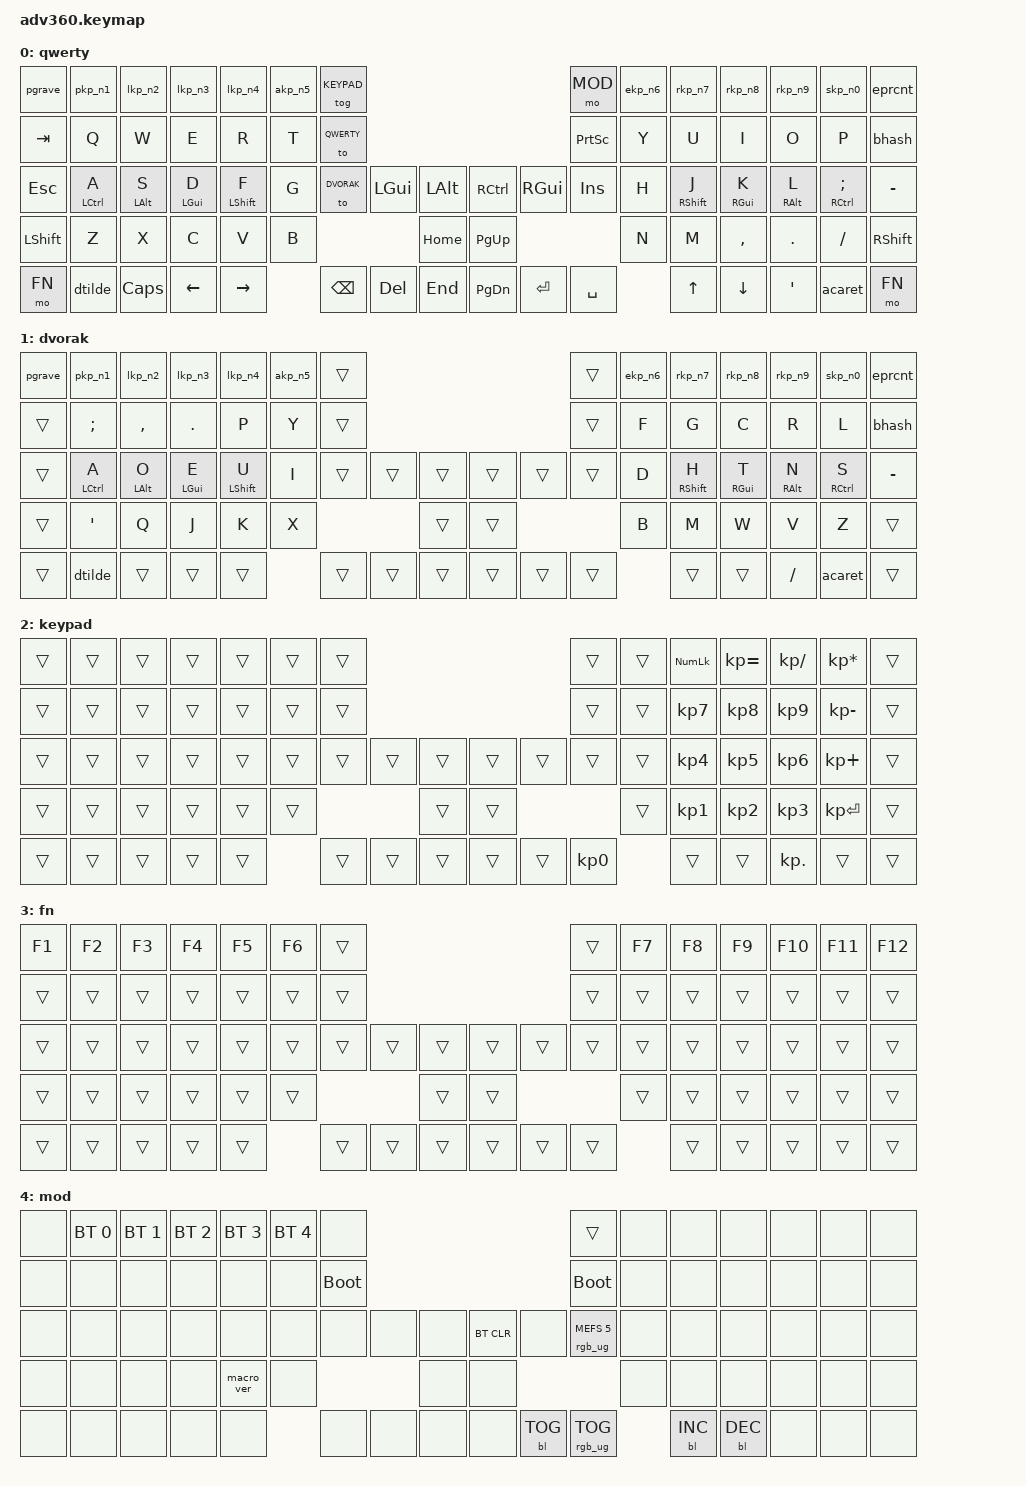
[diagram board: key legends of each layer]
#include <behaviors.dtsi>
#include <dt-bindings/zmk/keys.h>
#include <dt-bindings/zmk/bt.h>
#include <dt-bindings/zmk/rgb.h>
#include <dt-bindings/zmk/backlight.h>

// Helpers for readability
#define ______ &trans
#define xxxxxx &none

// Define Layout Names
#define QWERTY 0
#define DVORAK 1
#define KEYPAD 2
#define FN 3
#define MOD 4

// Define Key Positions
#define KEYS_LEFT 0 1 2 3 4 5 6 \
                  14 15 16 17 18 19 20 \
                  28 29 30 31 32 33 34 \
                  46 47 48 49 50 51 \
                  66 67 68 69 70
#define KEYS_RIGHT 7 8 9 10 11 12 13 \
                   21 22 23 24 25 26 27 \
                   39 40 41 42 43 44 45 \
                   60 61 62 63 64 65 \
                   77 78 79 80 81
#define THUMBS_LEFT 35 36 54 71 72 73
#define THUMBS_RIGHT 37 38 57 74 75 76
#define THUMBS THUMBS_LEFT THUMBS_RIGHT

/ {
    behaviors {
      #include "macros.dtsi"
      #include "version.dtsi"
      #ifndef VERSION_MACRO
      macro_ver: macro_ver {
        compatible = "zmk,behavior-macro";
        label = "macro_version";
        #binding-cells = <0>;
        bindings = <&kp RET>;
      };
      #endif

      hm: homerow_mods {
        compatible = "zmk,behavior-hold-tap";
        label = "HOMEROW_MODS";
        #binding-cells = <2>;
        tapping-term-ms = <200>;
        quick_tap_ms = <175>;
        flavor = "balanced";
        bindings = <&kp>, <&kp>;
      };
      hm_l: homerow_mods_left {
        compatible = "zmk,behavior-hold-tap";
        label = "HOMEROW_MODS_LEFT";
        #binding-cells = <2>;
        tapping-term-ms = <200>;
        quick_tap_ms = <175>;
        flavor = "balanced";
        bindings = <&kp>, <&kp>;
        hold-trigger-key-positions = <KEYS_RIGHT THUMBS>;
      };
      hm_r: homerow_mods_right {
        compatible = "zmk,behavior-hold-tap";
        label = "HOMEROW_MODS_RIGHT";
        #binding-cells = <2>;
        tapping-term-ms = <200>;
        quick_tap_ms = <175>;
        flavor = "balanced";
        bindings = <&kp>, <&kp>;
        hold-trigger-key-positions = <KEYS_LEFT THUMBS>;
      };
      pkp_n1: plus_kp_n1 {
        compatible = "zmk,behavior-mod-morph";
        label = "plus_kp_n1";
        #binding-cells = <0>;
        bindings = <&kp PLUS>, <&kp KP_N1>;
        mods = <(LGUI|LSHIFT|RGUI|RSHIFT)>;
      };
      lkp_n2: left_bracket_kp_n2 {
        compatible = "zmk,behavior-mod-morph";
        label = "left_bracket_kp_n2";
        #binding-cells = <0>;
        bindings = <&kp LEFT_BRACKET>, <&kp KP_N2>;
        mods = <(LGUI|LSHIFT|RGUI|RSHIFT)>;
      };
      lkp_n3: left_brace_kp_n3 {
        compatible = "zmk,behavior-mod-morph";
        label = "left_brace_kp_n3";
        #binding-cells = <0>;
        bindings = <&kp LEFT_BRACE>, <&kp KP_N3>;
        mods = <(LGUI|LSHIFT|RGUI|RSHIFT)>;
      };
      lkp_n4: left_parenthesis_kp_n4 {
        compatible = "zmk,behavior-mod-morph";
        label = "left_parenthesis_kp_n4";
        #binding-cells = <0>;
        bindings = <&kp LEFT_PARENTHESIS>, <&kp KP_N4>;
        mods = <(LGUI|LSHIFT|RGUI|RSHIFT)>;
      };
      akp_n5: amps_kp_n5 {
        compatible = "zmk,behavior-mod-morph";
        label = "amps_kp_n5";
        #binding-cells = <0>;
        bindings = <&kp AMPS>, <&kp KP_N5>;
        mods = <(LGUI|LSHIFT|RGUI|RSHIFT)>;
      };
      ekp_n6: equal_kp_n6 {
        compatible = "zmk,behavior-mod-morph";
        label = "equal_kp_n6";
        #binding-cells = <0>;
        bindings = <&kp EQUAL>, <&kp KP_N6>;
        mods = <(LGUI|LSHIFT|RGUI|RSHIFT)>;
      };
      rkp_n7: right_parenthesis_kp_n7 {
        compatible = "zmk,behavior-mod-morph";
        label = "right_parenthesis_kp_n7";
        #binding-cells = <0>;
        bindings = <&kp RIGHT_PARENTHESIS>, <&kp KP_N7>;
        mods = <(LGUI|LSHIFT|RGUI|RSHIFT)>;
      };
      rkp_n8: right_brace_kp_n8 {
        compatible = "zmk,behavior-mod-morph";
        label = "right_brace_kp_n8";
        #binding-cells = <0>;
        bindings = <&kp RIGHT_BRACE>, <&kp KP_N8>;
        mods = <(LGUI|LSHIFT|RGUI|RSHIFT)>;
      };
      rkp_n9: right_bracket_kp_n9 {
        compatible = "zmk,behavior-mod-morph";
        label = "right_bracket_kp_n9";
        #binding-cells = <0>;
        bindings = <&kp RIGHT_BRACKET>, <&kp KP_N9>;
        mods = <(LGUI|LSHIFT|RGUI|RSHIFT)>;
      };
      skp_n0: star_kp_n0 {
        compatible = "zmk,behavior-mod-morph";
        label = "star_kp_n0";
        #binding-cells = <0>;
        bindings = <&kp STAR>, <&kp KP_N0>;
        mods = <(LGUI|LSHIFT|RGUI|RSHIFT)>;
      };
      eprcnt: excl_prcnt {
        compatible = "zmk,behavior-mod-morph";
        label = "excl_prcnt";
        #binding-cells = <0>;
        bindings = <&kp EXCL>, <&kp PRCNT>;
        mods = <(LGUI|LSHIFT|RGUI|RSHIFT)>;
      };
      dtilde: dllr_tilde {
        compatible = "zmk,behavior-mod-morph";
        label = "dllr_tilde";
        #binding-cells = <0>;
        bindings = <&kp DLLR>, <&kp TILDE>;
        mods = <(LGUI|LSHIFT|RGUI|RSHIFT)>;
      };
      pgrave: pipe_grave {
        compatible = "zmk,behavior-mod-morph";
        label = "pipe_grave";
        #binding-cells = <0>;
        bindings = <&kp PIPE>, <&kp GRAVE>;
        mods = <(LGUI|LSHIFT|RGUI|RSHIFT)>;
      };
      bhash: bslh_hash {
        compatible = "zmk,behavior-mod-morph";
        label = "bslh_hash";
        #binding-cells = <0>;
        bindings = <&kp BSLH>, <&kp HASH>;
        mods = <(LGUI|LSHIFT|RGUI|RSHIFT)>;
      };
      acaret: at_caret {
        compatible = "zmk,behavior-mod-morph";
        label = "at_caret";
        #binding-cells = <0>;
        bindings = <&kp AT>, <&kp CARET>;
        mods = <(LGUI|LSHIFT|RGUI|RSHIFT)>;
      };
    };

  // Define Homerow Mods (Shared)
  #define A_CTRL &hm_l LCTRL A        // Control key on pinky fingers

  // Define Homerow Mods (Qwerty)
  #define F_SHFT &hm_l LSHFT F        // Shift on index fingers
  #define J_SHFT &hm_r RSHFT J
  #define D_CMD &hm_l LGUI D          // Command / Windows on middle fingers
  #define K_CMD &hm_r RGUI K
  #define S_OPT &hm_l LALT S          // Option / Alt on ring fingers
  #define L_OPT &hm_r RALT L        
  #define SEMI_CTRL &hm_r RCTRL SEMI  // Control key on pinky fingers

  // Define Homerow Mods (Dvorak)
  #define U_SHFT &hm_l LSHFT U        // Shift on index fingers
  #define H_SHFT &hm_r RSHFT H
  #define E_CMD &hm_l LGUI E          // Command / Windows on middle fingers
  #define T_CMD &hm_r RGUI T
  #define O_OPT &hm_l LALT O          // Option / Alt on ring fingers
  #define N_OPT &hm_r RALT N        
  #define S_CTRL &hm_r RCTRL S        // Control key on pinky fingers
  

  keymap {
    compatible = "zmk,keymap";

    qwerty {
      bindings = <
        &pgrave    &pkp_n1        &lkp_n2       &lkp_n3       &lkp_n4       &akp_n5       &tog KEYPAD                                               &mo MOD               &ekp_n6   &rkp_n7     &rkp_n8       &rkp_n9        &skp_n0          &eprcnt
        &kp TAB    &kp Q          &kp W         &kp E         &kp R         &kp T         &to QWERTY                                                &kp PSCRN             &kp Y     &kp U       &kp I         &kp O          &kp P            &bhash
        &kp ESC    A_CTRL         S_OPT         D_CMD         F_SHFT        &kp G         &to DVORAK   &kp LGUI   &kp LALT  &kp RCTRL   &kp RGUI    &kp INS               &kp H     J_SHFT      K_CMD         L_OPT          SEMI_CTRL        &kp MINUS
        &kp LSHFT  &kp Z          &kp X         &kp C         &kp V         &kp B                                 &kp HOME  &kp PG_UP                                     &kp N     &kp M       &kp COMMA     &kp DOT        &kp FSLH         &kp RSHFT
        &mo FN     &dtilde        &kp CAPS      &kp LEFT      &kp RIGHT                   &kp BSPC     &kp DEL    &kp END   &kp PG_DN   &kp ENTER   &kp SPACE                       &kp UP      &kp DOWN      &kp SQT        &acaret          &mo FN
      >;
    };
    dvorak {
      bindings = <
        &pgrave    &pkp_n1        &lkp_n2       &lkp_n3       &lkp_n4       &akp_n5       ______                                                    ______                &ekp_n6   &rkp_n7     &rkp_n8       &rkp_n9        &skp_n0          &eprcnt
        ______     &kp SEMI       &kp COMMA     &kp DOT       &kp P         &kp Y         ______                                                    ______                &kp F     &kp G       &kp C         &kp R          &kp L            &bhash
        ______     A_CTRL         O_OPT         E_CMD         U_SHFT        &kp I         ______       ______     ______    ______      ______      ______                &kp D     H_SHFT      T_CMD         N_OPT          S_CTRL           &kp MINUS
        ______     &kp SQT        &kp Q         &kp J         &kp K         &kp X                                 ______    ______                                        &kp B     &kp M       &kp W         &kp V          &kp Z            ______
        ______     &dtilde        ______        ______        ______                      ______       ______     ______    ______      ______      ______                          ______      ______        &kp FSLH       &acaret          ______
      >;
    };
    keypad {
      bindings = <
        ______      ______        ______        ______        ______        ______        ______                                                    ______                ______    &kp KP_NUM  &kp KP_EQUAL  &kp KP_DIVIDE  &kp KP_MULTIPLY  ______
        ______      ______        ______        ______        ______        ______        ______                                                    ______                ______    &kp KP_N7   &kp KP_N8     &kp KP_N9      &kp KP_MINUS     ______
        ______      ______        ______        ______        ______        ______        ______       ______     ______    ______      ______      ______                ______    &kp KP_N4   &kp KP_N5     &kp KP_N6      &kp KP_PLUS      ______
        ______      ______        ______        ______        ______        ______                                ______    ______                                        ______    &kp KP_N1   &kp KP_N2     &kp KP_N3      &kp KP_ENTER     ______
        ______      ______        ______        ______        ______                      ______       ______     ______    ______      ______      &kp KP_N0                       ______      ______        &kp KP_DOT     ______           ______
      >;
    };
    fn {
      bindings = <
        &kp F1      &kp F2        &kp F3        &kp F4        &kp F5        &kp F6        ______                                                    ______                 &kp F7   &kp F8       &kp F9       &kp F10        &kp F11          &kp F12
        ______      ______        ______        ______        ______        ______        ______                                                    ______                 ______   ______       ______       ______         ______           ______
        ______      ______        ______        ______        ______        ______        ______       ______     ______    ______      ______      ______                 ______   ______       ______       ______         ______           ______
        ______      ______        ______        ______        ______        ______                                ______    ______                                         ______   ______       ______       ______         ______           ______
        ______      ______        ______        ______        ______                      ______       ______     ______    ______      ______      ______                          ______       ______       ______         ______           ______
      >;
    };
    mod {
      bindings = <
        xxxxxx      &bt BT_SEL 0  &bt BT_SEL 1  &bt BT_SEL 2  &bt BT_SEL 3  &bt BT_SEL 4  xxxxxx                                                    ______                  xxxxxx  xxxxxx       xxxxxx       xxxxxx         xxxxxx           xxxxxx
        xxxxxx      xxxxxx        xxxxxx        xxxxxx        xxxxxx        xxxxxx        &bootloader                                               &bootloader             xxxxxx  xxxxxx       xxxxxx       xxxxxx         xxxxxx           xxxxxx
        xxxxxx      xxxxxx        xxxxxx        xxxxxx        xxxxxx        xxxxxx        xxxxxx       xxxxxx     xxxxxx    &bt BT_CLR  xxxxxx      &rgb_ug RGB_MEFS_CMD 5  xxxxxx  xxxxxx       xxxxxx       xxxxxx         xxxxxx           xxxxxx
        xxxxxx      xxxxxx        xxxxxx        xxxxxx        &macro_ver    xxxxxx                                xxxxxx    xxxxxx                                          xxxxxx  xxxxxx       xxxxxx       xxxxxx         xxxxxx           xxxxxx
        xxxxxx      xxxxxx        xxxxxx        xxxxxx        xxxxxx                      xxxxxx       xxxxxx     xxxxxx    xxxxxx      &bl BL_TOG  &rgb_ug RGB_TOG                 &bl BL_INC   &bl BL_DEC   xxxxxx         xxxxxx           xxxxxx
      >;
    };
  };
};
